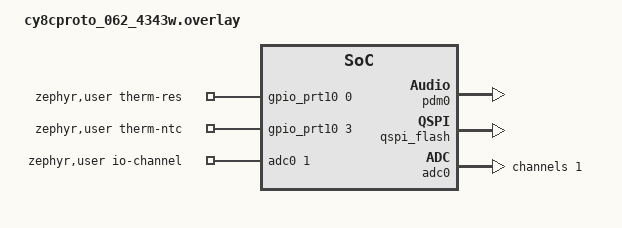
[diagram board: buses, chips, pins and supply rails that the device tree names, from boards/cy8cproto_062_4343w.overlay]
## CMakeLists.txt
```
# SPDX-License-Identifier: Apache-2.0

cmake_minimum_required(VERSION 3.20.0)

# Third-party modules the west manifest doesn't include (CapSense, CMSIS-DSP,
# LittleFS): fetched once into <workspace>/modules, see cmake/fetch_modules.cmake.
include(cmake/fetch_modules.cmake)

# Extra Zephyr modules: ext/ holds this app's own drivers, devicetree bindings
# (and later the CM0+ SoC/board port). They must be listed before find_package().
list(APPEND ZEPHYR_EXTRA_MODULES
  ${CMAKE_CURRENT_SOURCE_DIR}/ext
  ${CMSIS_DSP_DIR}
  ${LITTLEFS_DIR}
)

find_package(Zephyr REQUIRED HINTS $ENV{ZEPHYR_BASE})
project(sound_dashboard)

target_sources(app PRIVATE
  src/main.c
  src/channels.c
  src/bus_monitor.c
  src/thermistor.c
  src/app_settings.c
  src/app_watchdog.c
  src/capsense_input.c
  src/ui_ctrl.c
  src/audio_capture.c
  src/audio_dsp.c
  src/app_time.c
  src/wifi_mgr.c
  src/web_server.c
  src/datalog.c
)

# ---- Web dashboard ------------------------------------------------------------
# The page, script and stylesheet are gzipped at build time into C arrays that
# the HTTP server serves as-is (Content-Encoding: gzip).
set(gen_dir ${ZEPHYR_BINARY_DIR}/include/generated)
foreach(web_file index.html app.js style.css)
  generate_inc_file_for_target(app web/${web_file} ${gen_dir}/${web_file}.gz.inc --gzip)
endforeach()

# The HTTP server finds the service's resources in an iterable linker section.
zephyr_linker_sources(SECTIONS sections-rom.ld)
zephyr_linker_section(NAME http_resource_desc_dash_service
  KVMA RAM_REGION GROUP RODATA_REGION)

# ---- CapSense -----------------------------------------------------------------
# Infineon CapSense middleware (Infineon EULA, not committed), plus the
# generated configuration for this kit in capsense/.
file(GLOB CAPSENSE_SOURCES ${CAPSENSE_DIR}/*.c)
target_sources(app PRIVATE
  ${CAPSENSE_SOURCES}
  capsense/cycfg_capsense.c
  # PDL driver for the CSD hardware block; the HAL module doesn't build it.
  ${ZEPHYR_HAL_INFINEON_MODULE_DIR}/mtb-pdl-cat1/drivers/source/cy_csd.c
)
target_include_directories(app PRIVATE capsense ${CAPSENSE_DIR})

# Closed-source parts (SmartSense auto-tuning, advanced filters), built for the
# same floating-point ABI as the rest of the image.
if(CONFIG_FP_HARDABI)
  set(CAPSENSE_FP COMPONENT_HARDFP)
else()
  set(CAPSENSE_FP COMPONENT_SOFTFP)
endif()
zephyr_link_libraries(${CAPSENSE_DIR}/${CAPSENSE_FP}/TOOLCHAIN_GCC_ARM/libcy_capsense.a)
```

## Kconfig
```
# SPDX-License-Identifier: Apache-2.0
#
# Application options for the sound dashboard.

mainmenu "Sound dashboard"

menu "Audio capture"

config APP_AUDIO_SAMPLE_RATE
	int "Microphone sample rate (Hz)"
	default 16000
	range 8000 48000

config APP_AUDIO_BLOCK_SAMPLES
	int "Samples per capture block"
	default 512
	help
	  The microphone is read in blocks of this many samples; each block is
	  analyzed as it arrives (512 samples = 32 ms at 16 kHz). Must be a
	  power of two.

config APP_AUDIO_BLOCK_COUNT
	int "Capture blocks"
	default 8
	help
	  Blocks in the capture memory slab: two are being filled by the
	  driver, the rest absorb delays in the analysis thread.

choice APP_AUDIO_MIC
	prompt "Microphone"
	default APP_AUDIO_MIC_LEFT

config APP_AUDIO_MIC_LEFT
	bool "Left channel of the PDM line"

config APP_AUDIO_MIC_RIGHT
	bool "Right channel of the PDM line"

endchoice

config APP_AUDIO_GAIN_DB
	int "PDM converter gain (dB)"
	default 0
	range -12 10
	help
	  Applied by the PDM-PCM converter in 1.5 dB steps.

config APP_AUDIO_REC_SECONDS
	int "Raw audio recorder length (s), 0 = no recorder"
	default 0
	range 0 20
	help
	  For tuning the analysis offline: "mic rec" records this many seconds
	  of raw samples into RAM (32 KB per second at 16 kHz) with the user
	  LED on, and GET /api/rec.wav downloads them as a WAV file. Enable it
	  with the rec.conf fragment.

endmenu

menu "Data log"

config APP_DATALOG_SYNC_S
	int "Seconds between syncs to flash"
	default 10
	range 1 300
	help
	  Lines are buffered in RAM and committed to the file this often; a
	  power cut loses at most this much of the log.

config APP_DATALOG_FILE_KB
	int "Start a new log file after this many KB"
	default 1024
	help
	  About 64 bytes per second are logged, so 1024 KB is roughly 4.5
	  hours. Each file takes whole 256 KB erase blocks on the flash.

config APP_DATALOG_FILES
	int "Log files to keep"
	default 8
	help
	  When a new file starts, the oldest ones are deleted to keep this many.
	  Files x size must leave a quarter of the 16 MB log partition free
	  for the file system (checked at build time).

endmenu

source "Kconfig.zephyr"
```

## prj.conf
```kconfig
# Kconfig fragment: selects which kernel features/drivers get compiled in.
# Inspect the fully resolved config with: west build -t menuconfig

# ---- Core -----------------------------------------------------------------------

CONFIG_GPIO=y
CONFIG_LOG=y
CONFIG_THREAD_NAME=y

# Hardware FPU for the audio DSP. Several threads use floats (DSP, thermistor),
# so the FPU context is saved per thread.
CONFIG_FPU=y
CONFIG_FPU_SHARING=y

# Interactive shell on the console UART (KitProg3 COM port, 115200 8N1).
# Log messages are routed through the shell so they don't break the prompt.
CONFIG_SHELL=y

# Per-thread CPU usage ("kernel thread list") for load measurements.
CONFIG_THREAD_RUNTIME_STATS=y

# Emit the kernel-structure offsets table that OpenOCD's Zephyr RTOS
# awareness reads, so the debugger can list every thread and its stack.
CONFIG_DEBUG_THREAD_INFO=y

# Hardware watchdog (fed by the liveness supervisor in app_watchdog.c)
CONFIG_WATCHDOG=y

# ---- Thermistor -----------------------------------------------------------------

# ADC for the onboard thermistor, TCPWM counter that paces its sampling
CONFIG_ADC=y
CONFIG_COUNTER=y

# ---- Microphone -------------------------------------------------------------------

# DMIC API; the PSoC 6 PDM driver itself is in ext/drivers/audio. It moves
# the samples with DMA (DataWire 1 channel 26) by default.
CONFIG_AUDIO=y
CONFIG_AUDIO_DMIC=y

# CMSIS-DSP for the FFT (fetched by cmake/fetch_modules.cmake)
CONFIG_CMSIS_DSP=y

# ---- Networking ---------------------------------------------------------------------

CONFIG_NETWORKING=y
CONFIG_NET_IPV4=y
CONFIG_NET_IPV6=n
CONFIG_NET_TCP=y
CONFIG_NET_UDP=y
CONFIG_NET_SOCKETS=y
CONFIG_NET_DHCPV4=y
CONFIG_NET_IF_MAX_IPV4_COUNT=2
# The Wi-Fi manager follows connect/disconnect/address events (with their details).
CONFIG_NET_MGMT=y
CONFIG_NET_MGMT_EVENT=y
CONFIG_NET_MGMT_EVENT_INFO=y
CONFIG_NET_MGMT_EVENT_QUEUE_SIZE=16
CONFIG_NET_MGMT_EVENT_QUEUE_TIMEOUT=20
# Name sent with DHCP requests (and answered by mDNS as psoc6.local).
CONFIG_NET_HOSTNAME_ENABLE=y
CONFIG_NET_HOSTNAME="psoc6"
# Clock from SNTP (pool.ntp.org, resolved through the DNS server DHCP hands out)
CONFIG_DNS_RESOLVER=y
CONFIG_SNTP=y
# No hardware entropy driver for this SoC in Zephyr: TCP sequence numbers and
# DNS IDs come from a pseudo-random generator (fine on a home LAN).
CONFIG_TEST_RANDOM_GENERATOR=y
# "net iface", "net stats", "net conn", ...
CONFIG_NET_SHELL=y

# Network buffers: sized for a few browsers, not for throughput.
CONFIG_NET_PKT_RX_COUNT=16
CONFIG_NET_PKT_TX_COUNT=16
CONFIG_NET_BUF_RX_COUNT=48
CONFIG_NET_BUF_TX_COUNT=48
CONFIG_NET_MAX_CONTEXTS=16
CONFIG_NET_MAX_CONN=16

# ---- Wi-Fi --------------------------------------------------------------------------

# CYW4343W over SDIO (AIROC driver; the board picks the chip and firmware).
CONFIG_WIFI=y
CONFIG_WIFI_LOG_LEVEL_ERR=y
# "wifi scan", "wifi status", "wifi connect ..."
CONFIG_NET_L2_WIFI_SHELL=y
# Stored networks ("wifi cred add/list/delete"), kept in flash through Settings.
CONFIG_WIFI_CREDENTIALS=y

# ---- Web dashboard --------------------------------------------------------------------

# HTTP/1.1 only: browsers speak HTTP/2 only over TLS, and WebSockets upgrade
# from HTTP/1.1. A page uses up to three connections (page, script, socket).
CONFIG_HTTP_SERVER=y
CONFIG_HTTP_SERVER_VERSION_2=n
CONFIG_HTTP_SERVER_WEBSOCKET=y
# One WebSocket context per dashboard client (WS_MAX_CLIENTS in web_server.c)
# plus a spare to refuse one more with a "busy" close; the default of 1
# fails every browser after the first.
CONFIG_WEBSOCKET_MAX_CONTEXTS=4
CONFIG_HTTP_SERVER_MAX_CLIENTS=8
CONFIG_HTTP_SERVER_CLIENT_BUFFER_SIZE=1024
CONFIG_JSON_LIBRARY=y
# File descriptors and poll entries for the server's sockets, the WebSocket
# clients and the eventfd that wakes the web thread.
CONFIG_ZVFS_OPEN_MAX=32
CONFIG_ZVFS_POLL_MAX=16
CONFIG_ZVFS_EVENTFD_MAX=4
# psoc6.local, and a DNS-SD record for the HTTP service
CONFIG_MDNS_RESPONDER=y
CONFIG_DNS_SD=y

# ---- zbus and state machines ----------------------------------------------------

CONFIG_ZBUS=y
CONFIG_ZBUS_CHANNEL_NAME=y
CONFIG_ZBUS_OBSERVER_NAME=y
CONFIG_ZBUS_CHANNEL_PUBLISH_STATS=y
# Message subscribers get a copy of every message, in order (commands must not
# be lost). Copies come from a fixed pool rather than the heap.
CONFIG_ZBUS_MSG_SUBSCRIBER=y
CONFIG_ZBUS_MSG_SUBSCRIBER_BUF_ALLOC_STATIC=y
CONFIG_ZBUS_MSG_SUBSCRIBER_NET_BUF_STATIC_DATA_SIZE=96
CONFIG_ZBUS_MSG_SUBSCRIBER_NET_BUF_POOL_SIZE=16

# State Machine Framework for the UI controller: hierarchical states
# (parent/child) and initial transitions into a parent's default child.
CONFIG_SMF=y
CONFIG_SMF_ANCESTOR_SUPPORT=y
CONFIG_SMF_INITIAL_TRANSITION=y

# ---- Persistent settings ----------------------------------------------------------

# Settings subsystem -> ZMS -> flash map -> flash driver.
# PSoC 6 flash writes whole 512-byte rows, so ZMS needs a 512-byte internal
# block (default 32), and every entry takes a whole row. Sectors of 16 rows
# (8 KB) leave 13 rows each for entries after ZMS's own bookkeeping; with
# 4 KB sectors only 4 were left. See storage_partition in the board overlay.
CONFIG_FLASH=y
CONFIG_FLASH_MAP=y
CONFIG_ZMS=y
CONFIG_ZMS_CUSTOMIZE_BLOCK_SIZE=y
CONFIG_ZMS_CUSTOM_BLOCK_SIZE=512
CONFIG_SETTINGS=y
CONFIG_SETTINGS_ZMS=y
CONFIG_SETTINGS_ZMS_SECTOR_SIZE_MULT=16
CONFIG_SETTINGS_SHELL=y

# ZMS keeps 512-byte buffers on the stack of whichever thread calls it:
# main (settings_load), settings_wq (saves, see app_settings.c) and the shell
# ("settings write"). Garbage collection nests them: ~2.4 KB measured.
CONFIG_MAIN_STACK_SIZE=3072
CONFIG_SYSTEM_WORKQUEUE_STACK_SIZE=2048
CONFIG_SHELL_STACK_SIZE=4096

# ---- QSPI flash and data log ------------------------------------------------------

# The 64 MB QSPI NOR (driver in ext/drivers/flash, partition in the overlay).
# "flash" shell: read, write, erase and test any flash device.
CONFIG_FLASH_SHELL=y

# LittleFS on the 16 MB log partition, mounted by datalog.c. Erase blocks are
# 256 KB, so files grow in 256 KB steps; reads and programs go through 512 B
# caches. Open files: the writer, a download, and "datalog tail" from the
# shell and the web at the same time.
CONFIG_FILE_SYSTEM=y
CONFIG_FILE_SYSTEM_LITTLEFS=y
CONFIG_FILE_SYSTEM_SHELL=y
CONFIG_FS_LITTLEFS_READ_SIZE=16
CONFIG_FS_LITTLEFS_PROG_SIZE=16
CONFIG_FS_LITTLEFS_CACHE_SIZE=512
CONFIG_FS_LITTLEFS_NUM_FILES=6
```

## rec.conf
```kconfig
# Tuning build: adds a raw audio recorder ("mic rec", GET /api/rec.wav) for
# analysing the microphone signal offline. Costs 32 KB of RAM per second.
#   west build -b cy8cproto_062_4343w -d apps/sound_dashboard/build/rec \
#     apps/sound_dashboard -- -DEXTRA_CONF_FILE=rec.conf
CONFIG_APP_AUDIO_REC_SECONDS=20
```

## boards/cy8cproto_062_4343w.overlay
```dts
/*
 * Board overlay for the CY8CPROTO-062-4343W.
 *
 * - Onboard thermistor (RT1) and the timer that paces its sampling
 *   (same wiring as apps/rtos_blinky, kit guide Figure A-11):
 *
 *     P10.0 ---[ R39 10k ]---+---[ RT1 NTC 10k ]--- P10.3
 *                            |
 *                        THERM_OUT -> P10.1 (ADC0 channel 1)
 *
 * - The PDM microphones: one PDM data line (P10.5) shared by a left and a
 *   right microphone, clocked from P10.4 by the audio subsystem's PDM-PCM
 *   converter (driver in ext/drivers/audio), and the audio clock it runs from.
 *
 * - A flash partition for persistent settings (UI state, Wi-Fi credentials).
 *
 * - The 64 MB QSPI NOR flash (S25FL512S) on the SMIF, for the data log
 *   (driver in ext/drivers/flash).
 *
 * P0.4 is both the SW0 button and the Wi-Fi host-wake interrupt line in the
 * board devicetree. The AIROC Wi-Fi driver owns it, so this app never uses SW0.
 *
 * SPDX-License-Identifier: Apache-2.0
 */

#include <zephyr/dt-bindings/adc/adc.h>

/ {
	aliases {
		dmic0 = &pdm0;
	};

	chosen {
		/* Where the Settings subsystem (ZMS backend) keeps its data. */
		zephyr,settings-partition = &storage_partition;
	};

	/* zephyr,user is a free-form node for application-specific properties. */
	zephyr,user {
		io-channels = <&adc0 1>;
		therm-res-gpios = <&gpio_prt10 0 GPIO_ACTIVE_HIGH>;
		therm-ntc-gpios = <&gpio_prt10 3 GPIO_ACTIVE_HIGH>;
		/* Hardware timer that paces thermistor sampling. */
		sample-counter = <&counter0_0>;
	};

	soc {
		/* AUDIOSS0 PDM-to-PCM converter (not in the SoC devicetree). */
		pdm0: pdm@40a00000 {
			compatible = "infineon,cat1a-pdm";
			reg = <0x40a00000 0x1000>;
			interrupts = <157 6>; /* audioss_0_interrupt_pdm */
			clocks = <&clk_hf1>;
			/* The PDM's DMA request is wired to DataWire 1 channel 26. */
			dmas = <&dma1 26>;
			dma-names = "rx";
			pinctrl-0 = <&p10_4_pdm_clk &p10_5_pdm_data>;
			pinctrl-names = "default";
			status = "okay";
		};

		/* SMIF serial memory interface with the kit's QSPI NOR flash
		 * (not in the SoC devicetree). The memory describes itself (SFDP).
		 */
		qspi_flash: qspi-flash@40420000 {
			compatible = "infineon,cat1a-smif-nor";
			reg = <0x40420000 0x10000>;
			clocks = <&clk_hf2>;
			pinctrl-0 = <&p11_2_smif_ss0 &p11_3_smif_d3 &p11_4_smif_d2
				     &p11_5_smif_d1 &p11_6_smif_d0 &p11_7_smif_clk>;
			pinctrl-names = "default";
			flash-size = <DT_SIZE_M(64)>;
			status = "okay";

			partitions {
				compatible = "fixed-partitions";
				#address-cells = <1>;
				#size-cells = <1>;

				/* LittleFS with the data log; the other 48 MB are free. */
				log_partition: partition@0 {
					label = "log";
					reg = <0x0 DT_SIZE_M(16)>;
				};
			};
		};
	};
};

/*
 * Audio clock: PLL0 (path 1, fed from the 8 MHz IMO) at 24.576 MHz, a multiple
 * of every standard audio rate, drives CLK_HF1 for the audio subsystem.
 * The PLL gets as close as its dividers allow (24.571 MHz, -0.02 %).
 */
&pll0 {
	clock-frequency = <24576000>;
	status = "okay";
};

&clk_hf1 {
	clocks = <&pll0>;
	clock-div = <1>;
	status = "okay";
};

/* SMIF clock: the 100 MHz FLL (path 0) / 2 = 50 MHz. */
&clk_hf2 {
	clocks = <&fll0>;
	clock-div = <2>;
	status = "okay";
};

&pinctrl {
	p10_4_pdm_clk: p10_4_pdm_clk {
		pinmux = <DT_CAT1_PINMUX(10, 4, HSIOM_SEL_ACT_9)>; /* audioss[0].pdm_clk */
		drive-push-pull;
	};

	p10_5_pdm_data: p10_5_pdm_data {
		pinmux = <DT_CAT1_PINMUX(10, 5, HSIOM_SEL_ACT_9)>; /* audioss[0].pdm_data */
		input-enable;
	};

	/* SMIF: chip select and clock are outputs, data lines go both ways. */
	p11_2_smif_ss0: p11_2_smif_ss0 {
		pinmux = <DT_CAT1_PINMUX(11, 2, HSIOM_SEL_ACT_5)>; /* smif.spi_select0 */
		drive-push-pull;
	};

	p11_3_smif_d3: p11_3_smif_d3 {
		pinmux = <DT_CAT1_PINMUX(11, 3, HSIOM_SEL_ACT_5)>; /* smif.spi_data3 */
		drive-push-pull;
		input-enable;
	};

	p11_4_smif_d2: p11_4_smif_d2 {
		pinmux = <DT_CAT1_PINMUX(11, 4, HSIOM_SEL_ACT_5)>; /* smif.spi_data2 */
		drive-push-pull;
		input-enable;
	};

	p11_5_smif_d1: p11_5_smif_d1 {
		pinmux = <DT_CAT1_PINMUX(11, 5, HSIOM_SEL_ACT_5)>; /* smif.spi_data1 */
		drive-push-pull;
		input-enable;
	};

	p11_6_smif_d0: p11_6_smif_d0 {
		pinmux = <DT_CAT1_PINMUX(11, 6, HSIOM_SEL_ACT_5)>; /* smif.spi_data0 */
		drive-push-pull;
		input-enable;
	};

	p11_7_smif_clk: p11_7_smif_clk {
		pinmux = <DT_CAT1_PINMUX(11, 7, HSIOM_SEL_ACT_5)>; /* smif.spi_clk */
		drive-push-pull;
	};
};

/* TCPWM0 counter 0 (already enabled by the board): 1 MHz, so one tick = 1 us. */
&counter0_0 {
	clock-frequency = <1000000>;
};

/*
 * 128 KB of main flash for persistent settings, just below the last 32 KB
 * (which rtos_blinky uses for its own settings, so the two apps don't share).
 * Flash is written in 512-byte rows, so every ZMS entry takes at least a row:
 * a key with a name over 8 bytes costs 4 rows (name, its data, value, list
 * link). 8 KB ZMS sectors (SETTINGS_ZMS_SECTOR_SIZE_MULT=16) hold 13 of them;
 * 32 KB of 4 KB sectors held only ~5 keys.
 */
&flash0 {
	partitions {
		compatible = "fixed-partitions";
		#address-cells = <1>;
		#size-cells = <1>;

		storage_partition: partition@1d8000 {
			label = "storage";
			reg = <0x1d8000 DT_SIZE_K(128)>;
		};
	};
};

&gpio_prt10 {
	status = "okay";
};

&adc0 {
	status = "okay";
	#address-cells = <1>;
	#size-cells = <0>;

	/* The Infineon driver only supports gain 1, the internal reference and 12 bits. */
	channel@1 {
		reg = <1>;
		zephyr,gain = "ADC_GAIN_1";
		zephyr,reference = "ADC_REF_INTERNAL";
		zephyr,acquisition-time = <ADC_ACQ_TIME_DEFAULT>;
		zephyr,resolution = <12>;
		zephyr,input-positive = <1>; /* P10.1 */
	};
};
```

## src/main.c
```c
/*
 * Sound-reactive Wi-Fi dashboard for the CY8CPROTO-062-4343W.
 *
 * Modules (each one publishes or observes zbus channels, see channels.h):
 * - thermistor.c:     samples RT1 once per second, publishes temp_chan.
 * - capsense_input.c: buttons and slider, publishes input_chan and ctrl_chan.
 * - audio_capture.c:  PDM microphone stream and analysis (audio_dsp.c).
 * - ui_ctrl.c:        dashboard state machine, owns ui_chan.
 * - wifi_mgr.c:       Wi-Fi from stored credentials, DHCP, SNTP; publishes net_chan.
 * - web_server.c:     HTTP + WebSocket dashboard (pages in web/), mDNS.
 * - datalog.c:        CSV log on the QSPI flash (LittleFS), observes most channels.
 * - app_settings.c:   persisted UI state.
 * - app_watchdog.c:   hardware watchdog fed by a liveness supervisor.
 * - bus_monitor.c:    "bus" shell diagnostics.
 * - main.c (here):    startup order.
 *
 * SPDX-License-Identifier: Apache-2.0
 */

#include <zephyr/kernel.h>
#include <zephyr/logging/log.h>

#include "app_settings.h"
#include "app_watchdog.h"
#include "audio_capture.h"
#include "capsense_input.h"
#include "datalog.h"
#include "thermistor.h"
#include "ui_ctrl.h"
#include "web_server.h"
#include "wifi_mgr.h"

LOG_MODULE_REGISTER(sound_dashboard, LOG_LEVEL_INF);

int main(void)
{
	int ret;

	LOG_INF("Sound dashboard on %s", CONFIG_BOARD);
	app_watchdog_report_reset_cause();

	/* Load saved settings before starting the threads that use them. */
	ret = app_settings_init();
	if (ret < 0) {
		LOG_ERR("Settings unavailable (%d), using defaults", ret);
	}

	app_watchdog_start();

	ret = ui_ctrl_start();
	if (ret < 0) {
		LOG_ERR("UI controller failed (%d)", ret);
	}

	ret = thermistor_init();
	if (ret < 0) {
		LOG_ERR("Thermistor init failed (%d)", ret);
	}

	capsense_input_start();
	audio_capture_start();
	datalog_start();

	ret = wifi_mgr_start();
	if (ret < 0) {
		LOG_ERR("Wi-Fi manager failed (%d)", ret);
	}

	ret = web_server_start();
	if (ret < 0) {
		LOG_ERR("Web server failed (%d)", ret);
	}

	LOG_INF("Started. Try 'ui', 'audio', 'datalog', 'wifimgr', 'web', 'temp', 'capsense', "
		"'bus watch on'.");

	/* Returning from main() just ends the main thread; the others keep running. */
	return 0;
}
```

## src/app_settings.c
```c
/*
 * Persistent application settings.
 *
 * Keys live under the "dash/" subtree (dash/view, dash/gain, ...), so they don't
 * mix with keys other apps (rtos_blinky uses "app/") left in the same partition.
 * Each value is an int32 with a default and an allowed range; values that are
 * missing or out of range in flash fall back to the default.
 * Backend: ZMS on the storage_partition (see boards/cy8cproto_062_4343w.overlay).
 *
 * SPDX-License-Identifier: Apache-2.0
 */

#include <errno.h>
#include <zephyr/kernel.h>
#include <zephyr/logging/log.h>
#include <zephyr/settings/settings.h>
#include <zephyr/sys/atomic.h>

#include "app_settings.h"
#include "channels.h"

LOG_MODULE_REGISTER(app_settings, LOG_LEVEL_INF);

#define SAVE_DELAY K_SECONDS(2)

/*
 * Saves run on their own low-priority work queue, not the (cooperative) system
 * work queue: a flash write can take a while, and ZMS keeps 512-byte row
 * buffers on the caller's stack. When a save triggers ZMS garbage collection
 * (moving entries out of a full sector) those buffers nest, which needs
 * more than 2 KB.
 */
#define SAVE_WQ_PRIORITY   13
#define SAVE_WQ_STACK_SIZE 4096

static K_THREAD_STACK_DEFINE(save_wq_stack, SAVE_WQ_STACK_SIZE);
static struct k_work_q save_wq;

struct setting_def {
	const char *name; /* key below "dash/" */
	int32_t def;
	int32_t min;
	int32_t max;
};

static const struct setting_def defs[APP_SET_COUNT] = {
	[APP_SET_VIEW] = {"view", UI_VIEW_BARS, 0, UI_VIEW_COUNT - 1},
	[APP_SET_COLOUR] = {"colour", 0, 0, UI_COLOUR_COUNT - 1},
	[APP_SET_LED_ON_CLAP] = {"ledclap", 1, 0, 1},
	[APP_SET_SLIDER_PARAM] = {"slider", UI_PARAM_GAIN, 0, UI_PARAM_COUNT - 1},
	[APP_SET_GAIN] = {"gain", 50, 0, UI_PARAM_MAX},
	[APP_SET_SMOOTHING] = {"smooth", 40, 0, UI_PARAM_MAX},
	[APP_SET_CLAP_SENS] = {"clapsens", 50, 0, UI_PARAM_MAX},
};

BUILD_ASSERT(APP_SET_GAIN + UI_PARAM_COUNT == APP_SET_COUNT,
	     "the UI params must be the last settings, in enum ui_param order");
BUILD_ASSERT(APP_SET_COUNT <= 32, "dirty mask is one atomic_t");

/* Read by several threads, written by setters and the loader: atomics, no lock needed. */
static atomic_t values[APP_SET_COUNT];
static atomic_t dirty;

static bool in_range(enum app_setting id, int32_t v)
{
	return v >= defs[id].min && v <= defs[id].max;
}

/*
 * Called by settings_load() once per stored key in the "dash" subtree.
 * `name` is the key with the "dash/" prefix already removed.
 */
static int app_settings_set_cb(const char *name, size_t len, settings_read_cb read_cb,
			       void *cb_arg)
{
	const char *next;
	int32_t value;

	for (size_t i = 0; i < APP_SET_COUNT; i++) {
		if (!settings_name_steq(name, defs[i].name, &next) || next) {
			continue;
		}
		if (len != sizeof(value) || read_cb(cb_arg, &value, sizeof(value)) < 0) {
			return -EINVAL;
		}
		if (in_range(i, value)) {
			atomic_set(&values[i], value);
		} else {
			LOG_WRN("Stored dash/%s=%d out of range, using default", defs[i].name, value);
		}
		return 0;
	}
	return -ENOENT;
}

/* Registers the "dash" subtree handler at build time (no runtime call needed). */
SETTINGS_STATIC_HANDLER_DEFINE(dash, "dash", NULL, app_settings_set_cb, NULL, NULL);

/* Runs on save_wq: the only place that writes these keys to flash. */
static void save_work_handler(struct k_work *work)
{
	ARG_UNUSED(work);
	char key[24];
	int saved = 0;

	for (size_t i = 0; i < APP_SET_COUNT; i++) {
		if (!atomic_test_and_clear_bit(&dirty, i)) {
			continue;
		}

		int32_t v = atomic_get(&values[i]);
		int rc;

		snprintk(key, sizeof(key), "dash/%s", defs[i].name);
		rc = settings_save_one(key, &v, sizeof(v));
		if (rc != 0) {
			LOG_ERR("Saving %s failed (%d)", key, rc);
		} else {
			saved++;
		}
	}
	LOG_DBG("%d setting(s) saved", saved);
}

static K_WORK_DELAYABLE_DEFINE(save_work, save_work_handler);

int app_settings_init(void)
{
	static const struct k_work_queue_config wq_cfg = {.name = "settings_wq"};

	k_work_queue_start(&save_wq, save_wq_stack, K_THREAD_STACK_SIZEOF(save_wq_stack),
			   SAVE_WQ_PRIORITY, &wq_cfg);

	for (size_t i = 0; i < APP_SET_COUNT; i++) {
		atomic_set(&values[i], defs[i].def);
	}

	int rc = settings_subsys_init();

	if (rc != 0) {
		LOG_ERR("Settings init failed (%d)", rc);
		return rc;
	}

	rc = settings_load_subtree("dash");
	if (rc != 0) {
		LOG_ERR("Settings load failed (%d)", rc);
	}
	return rc;
}

int32_t app_settings_get(enum app_setting id)
{
	return id < APP_SET_COUNT ? (int32_t)atomic_get(&values[id]) : 0;
}

int app_settings_set(enum app_setting id, int32_t value)
{
	if (id >= APP_SET_COUNT || !in_range(id, value)) {
		return -EINVAL;
	}
	if ((int32_t)atomic_set(&values[id], value) != value) {
		atomic_set_bit(&dirty, id);
		/* Reschedule (not schedule): every new change pushes the save out again. */
		k_work_reschedule_for_queue(&save_wq, &save_work, SAVE_DELAY);
	}
	return 0;
}
```

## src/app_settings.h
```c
/*
 * Persistent application settings: a small table of integer values stored in
 * flash through the Zephyr Settings subsystem (ZMS backend, storage_partition).
 *
 * SPDX-License-Identifier: Apache-2.0
 */

#ifndef APP_SETTINGS_H_
#define APP_SETTINGS_H_

#include <stdint.h>

enum app_setting {
	APP_SET_VIEW,          /* enum ui_view */
	APP_SET_COLOUR,
	APP_SET_LED_ON_CLAP,
	APP_SET_SLIDER_PARAM,  /* enum ui_param */
	APP_SET_GAIN,          /* the UI_PARAM_* values, in enum ui_param order */
	APP_SET_SMOOTHING,
	APP_SET_CLAP_SENS,
	APP_SET_COUNT,
};

/** Initialize the Settings subsystem and load saved values (or defaults). */
int app_settings_init(void);

int32_t app_settings_get(enum app_setting id);

/*
 * Update a value immediately and save it a couple of seconds later, so a burst
 * of changes (e.g. dragging the slider) costs a single flash write.
 * Returns -EINVAL if the value is out of range for that setting.
 */
int app_settings_set(enum app_setting id, int32_t value);

#endif /* APP_SETTINGS_H_ */
```

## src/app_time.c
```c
/*
 * Wall-clock time: an offset from uptime, set once SNTP has answered.
 *
 * SPDX-License-Identifier: Apache-2.0
 */

#include <time.h>
#include <zephyr/kernel.h>

#include "app_time.h"

/* Unix ms at uptime 0; 0 = not set. 64-bit, so guard it with a spinlock. */
static int64_t offset_ms;
static struct k_spinlock lock;

void app_time_set_unix_ms(int64_t unix_ms)
{
	k_spinlock_key_t key = k_spin_lock(&lock);

	offset_ms = unix_ms - k_uptime_get();
	k_spin_unlock(&lock, key);
}

bool app_time_valid(void)
{
	return app_time_unix_ms_at(0) >= 0;
}

int64_t app_time_unix_ms_at(int64_t uptime_ms)
{
	k_spinlock_key_t key = k_spin_lock(&lock);
	int64_t off = offset_ms;

	k_spin_unlock(&lock, key);
	return off == 0 ? -1 : off + uptime_ms;
}

int64_t app_time_unix_ms(void)
{
	return app_time_unix_ms_at(k_uptime_get());
}

int app_time_format(int64_t uptime_ms, char *buf, size_t len)
{
	int64_t unix_ms = app_time_unix_ms_at(uptime_ms);

	if (unix_ms < 0) {
		return snprintk(buf, len, "+%lld.%03llds", uptime_ms / 1000, uptime_ms % 1000);
	}

	time_t secs = (time_t)(unix_ms / 1000);
	struct tm tm;

	gmtime_r(&secs, &tm);
	return snprintk(buf, len, "%04d-%02d-%02dT%02d:%02d:%02d.%03dZ", tm.tm_year + 1900,
			tm.tm_mon + 1, tm.tm_mday, tm.tm_hour, tm.tm_min, tm.tm_sec,
			(int)(unix_ms % 1000));
}
```

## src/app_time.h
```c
/*
 * Wall-clock time: an offset from uptime, set once SNTP has answered.
 *
 * SPDX-License-Identifier: Apache-2.0
 */

#ifndef APP_TIME_H_
#define APP_TIME_H_

#include <stdbool.h>
#include <stddef.h>
#include <stdint.h>

/** Record the current Unix time (ms since 1970, UTC). */
void app_time_set_unix_ms(int64_t unix_ms);

/** True once the time has been set. */
bool app_time_valid(void);

/** Unix time (ms) of an uptime instant, or -1 if the time isn't known yet. */
int64_t app_time_unix_ms_at(int64_t uptime_ms);

/** Unix time (ms) now, or -1 if the time isn't known yet. */
int64_t app_time_unix_ms(void);

/**
 * Format an uptime instant as "2026-11-12T19:08:34.178Z", or as
 * "+1234.567s" (uptime) if the wall-clock time isn't known yet.
 */
int app_time_format(int64_t uptime_ms, char *buf, size_t len);

#endif /* APP_TIME_H_ */
```

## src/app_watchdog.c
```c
/*
 * Hardware watchdog, liveness supervisor and reset-cause reporting.
 *
 * SPDX-License-Identifier: Apache-2.0
 */

#include <zephyr/kernel.h>
#include <zephyr/drivers/watchdog.h>
#include <zephyr/logging/log.h>
#include <zephyr/shell/shell.h>
#include <zephyr/sys/atomic.h>
#include <cmsis_core.h>
#include <cy_syslib.h>

#include "app_watchdog.h"

LOG_MODULE_REGISTER(app_watchdog, LOG_LEVEL_INF);

#define SUPERVISOR_PRIORITY 1 /* above every client, so it can't be starved by them */
#define SUPERVISOR_STACK    768
#define STALL_MAGIC         0x57415443u /* "WATC" */

static const char *const client_names[WDT_CLIENT_COUNT] = {
	"ui", "capsense", "audio", "web", "datalog",
};

static const struct device *const wdt = DEVICE_DT_GET(DT_ALIAS(watchdog0));
static int wdt_channel = -1; /* -1: hardware watchdog not running */

static atomic_t enabled_mask;
static atomic_t alive_mask;
static atomic_t feeds;

/*
 * Survives a watchdog reset (not a power cycle): which clients were stalled
 * when the supervisor stopped feeding, so the next boot can name them.
 */
static __noinit struct {
	uint32_t magic;
	uint32_t mask;
} stall_record;

/* This boot's reset cause, kept after the hardware register is cleared. */
static uint32_t boot_reason;
static uint32_t boot_stalled;

int app_watchdog_reset_cause_str(char *buf, size_t len)
{
	static const struct {
		uint32_t bit;
		const char *name;
	} causes[] = {
		{CY_SYSLIB_RESET_HWWDT, "watchdog"},
		{CY_SYSLIB_RESET_ACT_FAULT, "fault"},
		{CY_SYSLIB_RESET_DPSLP_FAULT, "deep-sleep fault"},
		{CY_SYSLIB_RESET_SOFT, "software"},
		{CY_SYSLIB_RESET_SWWDT0 | CY_SYSLIB_RESET_SWWDT1 | CY_SYSLIB_RESET_SWWDT2 |
			 CY_SYSLIB_RESET_SWWDT3,
		 "multi-counter watchdog"},
		{CY_SYSLIB_RESET_HIB_WAKEUP, "hibernate wakeup"},
	};
	int n = 0;

	for (size_t i = 0; i < ARRAY_SIZE(causes); i++) {
		if (boot_reason & causes[i].bit) {
			n += snprintk(buf + n, len - n, "%s%s", n ? "+" : "", causes[i].name);
		}
	}
	if (n == 0) {
		/* The cause register stays empty after a power-on or the reset pin. */
		n = snprintk(buf, len, "power-on or reset pin");
	}
	for (int i = 0; i < WDT_CLIENT_COUNT; i++) {
		if (boot_stalled & BIT(i)) {
			n += snprintk(buf + n, len - n, " (%s stalled)", client_names[i]);
		}
	}
	return n;
}

void app_watchdog_report_reset_cause(void)
{
	/* Zephyr's hwinfo reset-cause API isn't implemented for PSoC 6 in this tree,
	 * so read the SRSS reset-cause register through the Infineon PDL directly.
	 */
	uint32_t reason = Cy_SysLib_GetResetReason();

	boot_reason = reason;
	if (reason & CY_SYSLIB_RESET_HWWDT) {
		LOG_WRN("Last reset was caused by the WATCHDOG");
		if (stall_record.magic == STALL_MAGIC) {
			boot_stalled = stall_record.mask;
			for (int i = 0; i < WDT_CLIENT_COUNT; i++) {
				if (stall_record.mask & BIT(i)) {
					LOG_WRN("  stalled thread: %s", client_names[i]);
				}
			}
		}
	} else {
		LOG_INF("Reset cause: 0x%08x", reason);
	}
	stall_record.magic = 0;
	/* Clear it so the next boot reports its own cause, not this one. */
	Cy_SysLib_ClearResetReason();
}

void app_watchdog_enable(enum app_wdt_client client)
{
	atomic_set_bit(&alive_mask, client);
	atomic_set_bit(&enabled_mask, client);
}

void app_watchdog_disable(enum app_wdt_client client)
{
	atomic_clear_bit(&enabled_mask, client);
}

void app_watchdog_alive(enum app_wdt_client client)
{
	atomic_set_bit(&alive_mask, client);
}

static void supervisor_thread(void *p1, void *p2, void *p3)
{
	ARG_UNUSED(p1);
	ARG_UNUSED(p2);
	ARG_UNUSED(p3);

	uint32_t reported = 0;

	while (true) {
		k_msleep(APP_WDT_CHECK_MS);

		uint32_t enabled = (uint32_t)atomic_get(&enabled_mask);
		uint32_t missing = enabled & ~(uint32_t)atomic_get(&alive_mask);

		if (missing == 0) {
			atomic_clear(&alive_mask);
			atomic_inc(&feeds);
			reported = 0;
			stall_record.magic = 0;
			if (wdt_channel >= 0) {
				wdt_feed(wdt, wdt_channel);
			}
			continue;
		}

		/* Not feeding: the hardware resets the chip within the timeout.
		 * Remember (and log, once) who is late.
		 */
		stall_record.mask = missing;
		stall_record.magic = STALL_MAGIC;
		if (missing != reported) {
			reported = missing;
			for (int i = 0; i < WDT_CLIENT_COUNT; i++) {
				if (missing & BIT(i)) {
					LOG_ERR("Thread '%s' missed its watchdog check-in",
						client_names[i]);
				}
			}
		}
	}
}

K_THREAD_DEFINE(wdt_sup_tid, SUPERVISOR_STACK, supervisor_thread, NULL, NULL, NULL,
		SUPERVISOR_PRIORITY, 0, SYS_FOREVER_MS);

static void hw_watchdog_start(void)
{
	/* The PSoC 6 WDT keeps counting while the CPU is halted at a breakpoint,
	 * so leave it off while debug is enabled (DHCSR.C_DEBUGEN). Only the
	 * debugger can set this bit and software can't clear it; a soft reset
	 * (e.g. after flashing) keeps it, an XRES (RESET button) or power cycle clears it.
	 */
	if (DCB->DHCSR & DCB_DHCSR_C_DEBUGEN_Msk) {
		LOG_WRN("Debug enabled: watchdog not started. Press RESET (SW1) to arm it.");
		return;
	}

	if (!device_is_ready(wdt)) {
		LOG_ERR("Watchdog device not ready");
		return;
	}

	const struct wdt_timeout_cfg cfg = {
		.window.max = APP_WDT_TIMEOUT_MS,
		.flags = WDT_FLAG_RESET_SOC,
	};
	int channel = wdt_install_timeout(wdt, &cfg);

	if (channel < 0) {
		LOG_ERR("Watchdog install failed (%d)", channel);
		return;
	}

	int ret = wdt_setup(wdt, 0);

	if (ret < 0) {
		LOG_ERR("Watchdog setup failed (%d)", ret);
		return;
	}

	wdt_channel = channel;
	LOG_INF("Watchdog started (%d ms timeout)", APP_WDT_TIMEOUT_MS);
}

void app_watchdog_start(void)
{
	hw_watchdog_start();
	/* The supervisor runs even without the hardware watchdog, to report stalls. */
	k_thread_start(wdt_sup_tid);
}

static int cmd_watchdog(const struct shell *sh, size_t argc, char **argv)
{
	ARG_UNUSED(argc);
	ARG_UNUSED(argv);

	uint32_t enabled = (uint32_t)atomic_get(&enabled_mask);
	uint32_t alive = (uint32_t)atomic_get(&alive_mask);

	shell_print(sh, "Hardware watchdog %s, %u feeds", wdt_channel >= 0 ? "running" : "off",
		    (uint32_t)atomic_get(&feeds));
	for (int i = 0; i < WDT_CLIENT_COUNT; i++) {
		shell_print(sh, "  %-9s %s", client_names[i],
			    !(enabled & BIT(i)) ? "-" : (alive & BIT(i)) ? "checked in" : "waiting");
	}
	return 0;
}

SHELL_CMD_REGISTER(watchdog, NULL, "Show watchdog supervisor status", cmd_watchdog);
```

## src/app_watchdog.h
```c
/*
 * Hardware watchdog with a liveness supervisor, plus reset-cause reporting.
 *
 * The key threads each check in with app_watchdog_alive(). A supervisor
 * thread feeds the hardware watchdog only when every enabled client has
 * checked in since the last feed, so one stuck thread resets the chip even
 * though the others are fine.
 *
 * SPDX-License-Identifier: Apache-2.0
 */

#ifndef APP_WATCHDOG_H_
#define APP_WATCHDOG_H_

#include <stddef.h>

#define APP_WDT_TIMEOUT_MS 4000
/* How often the supervisor checks. Clients must check in at least this often. */
#define APP_WDT_CHECK_MS   1000

enum app_wdt_client {
	WDT_CLIENT_UI,
	WDT_CLIENT_CAPSENSE,
	WDT_CLIENT_AUDIO,
	WDT_CLIENT_WEB,
	WDT_CLIENT_LOG,
	WDT_CLIENT_COUNT,
};

/** Log why the chip last reset (and which client stalled, if any), then clear it. */
void app_watchdog_report_reset_cause(void);

/**
 * This boot's reset cause as text, e.g. "watchdog (datalog stalled)" or
 * "power-on or reset pin". Valid after app_watchdog_report_reset_cause().
 */
int app_watchdog_reset_cause_str(char *buf, size_t len);

/**
 * Start the supervisor, and the hardware watchdog unless a debugger has
 * enabled debug mode.
 */
void app_watchdog_start(void);

/** Include a client in the liveness check from now on (also counts as a check-in). */
void app_watchdog_enable(enum app_wdt_client client);

/** Stop checking a client, e.g. when its hardware failed to initialize. */
void app_watchdog_disable(enum app_wdt_client client);

/** Proof of life from a client thread. */
void app_watchdog_alive(enum app_wdt_client client);

#endif /* APP_WATCHDOG_H_ */
```

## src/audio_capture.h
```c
/*
 * Audio capture: the PDM microphone stream and its analysis thread.
 *
 * SPDX-License-Identifier: Apache-2.0
 */

#ifndef AUDIO_CAPTURE_H_
#define AUDIO_CAPTURE_H_

#include <stddef.h>
#include <stdint.h>

/** Start the capture thread; it configures the microphone and starts streaming. */
void audio_capture_start(void);

/** Centre frequency (Hz) of a spectrum band on audio_spectrum_chan. */
float audio_capture_band_center_hz(int band);

/**
 * Record the next CONFIG_APP_AUDIO_REC_SECONDS of raw samples into RAM, with
 * the user LED on meanwhile. -ENOTSUP without a recorder, -EBUSY while one runs.
 */
int audio_rec_start(void);

/** The finished recording (mono, 16 bit), or NULL while recording or before the first. */
const int16_t *audio_rec_get(size_t *n_samples);

#endif /* AUDIO_CAPTURE_H_ */
```

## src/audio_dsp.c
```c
/*
 * Audio analysis: sound level, spectrum and clap detection.
 *
 * Levels are in dB relative to digital full scale: a full-scale sine has a
 * peak of 0 dBFS and an RMS of -3 dBFS. Spectrum bands are scaled so that a
 * full-scale sine reads 0 dB in its band.
 *
 * SPDX-License-Identifier: Apache-2.0
 */

#include <math.h>
#include <stdlib.h>
#include <string.h>

#include "audio_dsp.h"

#define FULL_SCALE 32768.0f

static inline float clampf(float v, float lo, float hi)
{
	return v < lo ? lo : v > hi ? hi : v;
}

static inline long clampl(long v, long lo, long hi)
{
	return v < lo ? lo : v > hi ? hi : v;
}

/* ---- Level -------------------------------------------------------------- */

float dsp_db(float ratio)
{
	if (ratio <= 1e-6f) {
		return DSP_DB_MIN;
	}

	float db = 20.0f * log10f(ratio);

	return db < DSP_DB_MIN ? DSP_DB_MIN : db;
}

void dsp_level_measure(const int16_t *x, size_t n, struct dsp_level *out)
{
	int64_t sum_sq = 0;
	int32_t peak = 0;
	bool clipped = false;

	for (size_t i = 0; i < n; i++) {
		int32_t v = x[i];

		sum_sq += v * v;
		if (abs(v) > peak) {
			peak = abs(v);
		}
		if (v == INT16_MAX || v == INT16_MIN) {
			clipped = true;
		}
	}

	float rms = n ? sqrtf((float)sum_sq / (float)n) : 0.0f;

	out->rms_dbfs = dsp_db(rms / FULL_SCALE);
	out->peak_dbfs = dsp_db((float)peak / FULL_SCALE);
	out->clipped = clipped;
}

/* ---- Spectrum ------------------------------------------------------------ */

int dsp_spectrum_init(struct dsp_spectrum *s, uint32_t sample_rate)
{
	memset(s, 0, sizeof(*s));
	s->sample_rate = sample_rate;

	if (arm_rfft_fast_init_1024_f32(&s->fft) != ARM_MATH_SUCCESS) {
		return -1;
	}

	/* Periodic Hann window: low leakage, so a loud band doesn't smear far. */
	for (int i = 0; i < DSP_FFT_SIZE; i++) {
		float w = 0.5f - 0.5f * cosf(2.0f * PI * (float)i / DSP_FFT_SIZE);

		s->window[i] = w;
		s->window_power += w * w;
	}

	/* Log-spaced band edges from DSP_BAND_F_MIN to Nyquist, mapped to FFT
	 * bins (skipping DC). At the low end a band is narrower than a bin, so
	 * neighbouring bands share one.
	 */
	const float nyquist = sample_rate / 2.0f;
	const float bin_hz = (float)sample_rate / DSP_FFT_SIZE;
	const float ratio = nyquist / DSP_BAND_F_MIN;

	for (int b = 0; b <= DSP_BANDS; b++) {
		s->band_edge_hz[b] = DSP_BAND_F_MIN * powf(ratio, (float)b / DSP_BANDS);
	}
	for (int b = 0; b < DSP_BANDS; b++) {
		int lo = (int)lroundf(s->band_edge_hz[b] / bin_hz);
		int hi = (int)lroundf(s->band_edge_hz[b + 1] / bin_hz);

		lo = (int)clampl(lo, 1, DSP_FFT_SIZE / 2 - 1);
		hi = (int)clampl(hi, lo + 1, DSP_FFT_SIZE / 2);
		s->band_lo[b] = (uint16_t)lo;
		s->band_hi[b] = (uint16_t)hi;
	}
	return 0;
}

void dsp_spectrum_push(struct dsp_spectrum *s, const int16_t *x, size_t n)
{
	if (n > DSP_FFT_SIZE) {
		x += n - DSP_FFT_SIZE;
		n = DSP_FFT_SIZE;
	}

	/* Slide the analysis window along by n samples. */
	memmove(s->history, s->history + n, (DSP_FFT_SIZE - n) * sizeof(int16_t));
	memcpy(s->history + DSP_FFT_SIZE - n, x, n * sizeof(int16_t));

	/* Samples as fractions of full scale, windowed (CMSIS vector ops). */
	arm_q15_to_float(s->history, s->frame, DSP_FFT_SIZE);
	arm_mult_f32(s->frame, s->window, s->frame, DSP_FFT_SIZE);
	arm_rfft_fast_f32(&s->fft, s->frame, s->bins, 0);

	/* Output: bins[0] = DC, bins[1] = Nyquist, then re/im pairs for bins
	 * 1..N/2-1. Their squared magnitudes go into frame[] (free now), so
	 * frame[k - 1] = |X[k]|^2.
	 */
	float *power = s->frame;

	arm_cmplx_mag_squared_f32(&s->bins[2], power, DSP_FFT_SIZE / 2 - 1);

	/* By Parseval, the positive-frequency bins of a windowed sine of
	 * amplitude A hold N * A^2 / 4 * sum(w^2): scale that to A^2.
	 */
	const float scale = 4.0f / ((float)DSP_FFT_SIZE * s->window_power);

	for (int b = 0; b < DSP_BANDS; b++) {
		float p = 0.0f;

		for (int k = s->band_lo[b]; k < s->band_hi[b] && k < DSP_FFT_SIZE / 2; k++) {
			p += power[k - 1];
		}
		s->acc[b] += p * scale;
	}
	s->acc_count++;
}

void dsp_spectrum_take(struct dsp_spectrum *s, float smoothing, float gain_db, float floor_db,
		       float range_db, uint8_t out[DSP_BANDS])
{
	smoothing = clampf(smoothing, 0.0f, 1.0f);

	for (int b = 0; b < DSP_BANDS; b++) {
		if (s->acc_count > 0) {
			float avg = s->acc[b] / (float)s->acc_count;

			s->smooth[b] = smoothing * s->smooth[b] + (1.0f - smoothing) * avg;
		}
		s->acc[b] = 0.0f;

		float db = dsp_spectrum_band_db(s, b) + gain_db;

		out[b] = (uint8_t)clampl(lroundf(db - floor_db), 0, (long)range_db);
	}
	s->acc_count = 0;
}

float dsp_spectrum_band_db(const struct dsp_spectrum *s, int band)
{
	float p = s->smooth[band];

	if (p <= 1e-12f) {
		return DSP_DB_MIN;
	}

	float db = 10.0f * log10f(p);

	return db < DSP_DB_MIN ? DSP_DB_MIN : db;
}

float dsp_band_center_hz(const struct dsp_spectrum *s, int band)
{
	return sqrtf(s->band_edge_hz[band] * s->band_edge_hz[band + 1]);
}

/* ---- Clap detector -------------------------------------------------------- */

/*
 * A clap is a short, broadband burst: its energy jumps up within a few
 * milliseconds and dies away within a few tens. Speech and music build up
 * and sustain; room rumble is low-frequency. So the detector:
 *
 *  1. works on the first difference of the signal (a gentle high-pass that
 *     weights the clap's high frequencies and ignores rumble), in ~8 ms
 *     sub-frames;
 *  2. tracks the background level (quick to follow it down, slow to follow
 *     it up, and frozen while a burst is being judged);
 *  3. starts a candidate on a sharp rise well above the background, and
 *     confirms it only if the energy falls back by DECAY_DB within
 *     ONSET_MAX_MS. Longer bursts are treated as sustained sound;
 *  4. then judges the short burst. Recordings on this board (claps near and
 *     at 2-3 m, snaps, typing, knocks on the desk, taps on the CapSense pads)
 *     showed two things set claps apart:
 *     - loudness: claps peaked at -32..0 dBFS, keyboard clicks and other
 *       small noises at -36..-51, so the peak must reach a level set by the
 *       sensitivity (ABS_PEAK_*);
 *     - pitch: knocks and taps reach the microphone through the board as a
 *       thump (RMS frequency 340..530 Hz), claps are at 1.4..2.8 kHz. The
 *       RMS frequency comes almost free from the ratio of the differenced
 *       to the raw energy: for a tone, E_diff / E_raw = 4 sin^2(pi f / fs).
 *     Finger snaps sound just like claps to this microphone and are only
 *     turned down when they are quieter.
 *
 * A second clap 100..700 ms after the first is reported as a double clap.
 */
#define SUBFRAMES_PER_SECOND 125     /* 8 ms sub-frames */
#define RISE_DB              9.0f    /* jump from the previous sub-frame */
#define ABS_MIN_DB           (-70.0f) /* ignore anything quieter than this */
#define THRESH_DB_MAX        30.0f   /* above background, at sensitivity 0 */
#define THRESH_DB_MIN        10.0f   /* above background, at sensitivity 1 */
#define ABS_PEAK_DBFS_MAX    (-20.0f) /* a clap's peak must reach this at sensitivity 0 */
#define ABS_PEAK_DBFS_MIN    (-48.0f) /* ... and this at sensitivity 1 */
#define DECAY_DB             12.0f
#define ONSET_MAX_MS         56
#define REFRACTORY_MS        100
#define SUSTAIN_MAX_MS       2000
#define DOUBLE_MIN_MS        100
#define DOUBLE_MAX_MS        700
#define FLOOR_DOWN           0.25f   /* background follows quieter sound quickly */
#define FLOOR_UP             0.01f   /* ... and louder sound slowly (~0.8 s) */

static uint32_t ms_to_subs(const struct dsp_clap *c, uint32_t ms)
{
	return (ms * c->subs_per_second + 999U) / 1000U;
}

void dsp_clap_init(struct dsp_clap *c, uint32_t sample_rate)
{
	memset(c, 0, sizeof(*c));
	c->sample_rate = sample_rate;
	c->sub_len = sample_rate / SUBFRAMES_PER_SECOND;
	if (c->sub_len < 16) {
		c->sub_len = 16;
	}
	c->subs_per_second = sample_rate / c->sub_len;
	c->floor_db = -60.0f;
	c->prev_db = DSP_DB_MIN;
	c->state = CLAP_IDLE;
	c->subs_since_clap = UINT32_MAX / 2;
	c->last_peak_dbfs = DSP_DB_MIN;
	c->last_burst_peak_dbfs = DSP_DB_MIN;
}

static void set_state(struct dsp_clap *c, enum dsp_clap_state state)
{
	c->state = state;
	c->state_subs = 0;
}

/* RMS frequency of the burst: fs / pi * asin(sqrt(E_diff / (4 E_raw))). */
static float burst_hz(const struct dsp_clap *c)
{
	if (c->burst_energy_raw == 0) {
		return 0.0f;
	}

	float r = (float)c->burst_energy / (4.0f * (float)c->burst_energy_raw);

	return (float)c->sample_rate / 3.14159265f * asinf(sqrtf(clampf(r, 0.0f, 1.0f)));
}

/* A short burst has died away: is it a clap? */
static bool burst_is_clap(struct dsp_clap *c, float sensitivity)
{
	float min_peak = ABS_PEAK_DBFS_MAX -
			 (ABS_PEAK_DBFS_MAX - ABS_PEAK_DBFS_MIN) * clampf(sensitivity, 0, 1);

	c->last_burst_peak_dbfs = dsp_db((float)c->onset_peak_sample / FULL_SCALE);
	c->last_burst_hz = burst_hz(c);
	if (c->last_burst_peak_dbfs < min_peak) {
		c->rejected_quiet++;
		return false;
	}
	if (c->last_burst_hz < (float)DSP_CLAP_MIN_HZ) {
		c->rejected_thump++;
		return false;
	}
	return true;
}

static enum dsp_clap_event clap_subframe(struct dsp_clap *c, float sensitivity)
{
	float energy = (float)c->sub_energy / ((float)c->sub_len * FULL_SCALE * FULL_SCALE);
	float db = energy > 1e-12f ? 10.0f * log10f(energy) : DSP_DB_MIN;
	float thresh = THRESH_DB_MAX - (THRESH_DB_MAX - THRESH_DB_MIN) * clampf(sensitivity, 0, 1);
	enum dsp_clap_event ev = DSP_CLAP_NONE;

	if (c->subs_since_clap < UINT32_MAX / 2) {
		c->subs_since_clap++;
	}
	c->state_subs++;

	switch (c->state) {
	case CLAP_IDLE:
		if (db > c->floor_db + thresh && db - c->prev_db > RISE_DB && db > ABS_MIN_DB) {
			set_state(c, CLAP_ONSET);
			c->onset_peak_db = db;
			c->onset_peak_sample = c->sub_peak;
			c->burst_energy = c->sub_energy;
			c->burst_energy_raw = c->sub_energy_raw;
		} else {
			c->floor_db += (db - c->floor_db) * (db < c->floor_db ? FLOOR_DOWN : FLOOR_UP);
		}
		break;

	case CLAP_ONSET:
		if (db > c->onset_peak_db) {
			c->onset_peak_db = db;
		}
		if (c->sub_peak > c->onset_peak_sample) {
			c->onset_peak_sample = c->sub_peak;
		}
		if (db < c->onset_peak_db - DECAY_DB) {
			/* A short burst that died away: a clap, unless too quiet or a thump. */
			if (!burst_is_clap(c, sensitivity)) {
				set_state(c, CLAP_REFRACTORY);
				break;
			}

			bool pair = c->subs_since_clap >= ms_to_subs(c, DOUBLE_MIN_MS) &&
				    c->subs_since_clap <= ms_to_subs(c, DOUBLE_MAX_MS);

			ev = pair ? DSP_CLAP_DOUBLE : DSP_CLAP_SINGLE;
			/* After a pair, a third clap starts a new one. */
			c->subs_since_clap = pair ? UINT32_MAX / 2 : 0;
			c->last_peak_dbfs = c->last_burst_peak_dbfs;
			set_state(c, CLAP_REFRACTORY);
		} else if (c->state_subs > ms_to_subs(c, ONSET_MAX_MS)) {
			set_state(c, CLAP_SUSTAINED);
		} else {
			c->burst_energy += c->sub_energy;
			c->burst_energy_raw += c->sub_energy_raw;
		}
		break;

	case CLAP_SUSTAINED:
		/* Let a steady sound slowly become the new background. */
		c->floor_db += (db - c->floor_db) * FLOOR_UP;
		if (db < c->floor_db + thresh / 2 ||
		    c->state_subs > ms_to_subs(c, SUSTAIN_MAX_MS)) {
			set_state(c, CLAP_IDLE);
		}
		break;

	case CLAP_REFRACTORY:
		if (c->state_subs >= ms_to_subs(c, REFRACTORY_MS)) {
			set_state(c, CLAP_IDLE);
		}
		break;
	}

	c->prev_db = db;
	return ev;
}

enum dsp_clap_event dsp_clap_process(struct dsp_clap *c, const int16_t *x, size_t n,
				     float sensitivity)
{
	enum dsp_clap_event result = DSP_CLAP_NONE;

	for (size_t i = 0; i < n; i++) {
		/* Integer maths per sample: no float on the hot path. */
		int32_t d = (int32_t)x[i] - c->prev_sample;
		int32_t a = abs(x[i]);

		c->prev_sample = x[i];
		/* |d| <= 65535, so d^2 always fits unsigned 32 bits. */
		c->sub_energy += (uint32_t)d * (uint32_t)d;
		c->sub_energy_raw += (uint32_t)(a * a);
		if (a > c->sub_peak) {
			c->sub_peak = a;
		}

		if (++c->sub_fill == c->sub_len) {
			enum dsp_clap_event ev = clap_subframe(c, sensitivity);

			if (ev != DSP_CLAP_NONE) {
				result = ev;
			}
			c->sub_fill = 0;
			c->sub_energy = 0;
			c->sub_energy_raw = 0;
			c->sub_peak = 0;
		}
	}
	return result;
}
```
